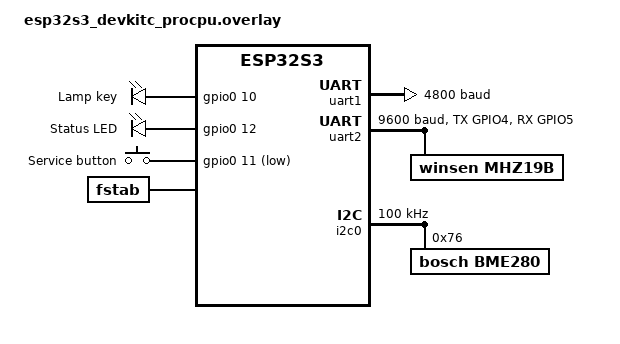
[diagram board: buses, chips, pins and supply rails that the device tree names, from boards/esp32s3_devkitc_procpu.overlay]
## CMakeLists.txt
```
# Weatherstation firmware (Zephyr application).
#
#   west build -b esp32s3_devkitc/esp32s3/procpu --sysbuild fw
#   west build -b native_sim/native/64 fw
cmake_minimum_required(VERSION 3.20.0)

set(WS_FW_DIR ${CMAKE_CURRENT_LIST_DIR})
list(APPEND ZEPHYR_EXTRA_MODULES ${WS_FW_DIR}/modules/metar_cpp)

find_package(Zephyr REQUIRED HINTS $ENV{ZEPHYR_BASE})
project(weatherstation C CXX)

include(${WS_FW_DIR}/lib/lib.cmake)
ws_lib_add(app)

target_include_directories(app PRIVATE src)
target_sources(app PRIVATE
  src/main.c
  src/app_state.c
  src/shell_ws.c
  src/storage/storage.c
  src/storage/settings_ws.c
  src/display/display.c
  src/display/shell_sign.c
  src/io/io.c
  src/sensors/sensors.c
)

if(CONFIG_WS_NET)
  target_sources(app PRIVATE src/net/net_mgr.c src/net/timesync.c)
  if(CONFIG_WS_NET_WIFI)
    target_sources(app PRIVATE src/net/wifi_esp32.c)
  else()
    target_sources(app PRIVATE src/net/wifi_none.c)
  endif()
endif()

if(CONFIG_WS_NET AND CONFIG_HTTP_CLIENT)
  target_sources(app PRIVATE src/net/http_get.c)
endif()

target_sources_ifdef(CONFIG_WS_MQTT app PRIVATE src/mqtt/mqtt_svc.c)
target_sources_ifdef(CONFIG_WS_OTA app PRIVATE src/ota/ota.c)
if(CONFIG_NATIVE_LIBC AND CONFIG_EVENTFD)
  # Zephyr's eventfd() for the HTTP server instead of the host's (see the file)
  target_sources(app PRIVATE src/net/eventfd_native.c)
endif()
if(CONFIG_WS_SMP)
  target_sources(app PRIVATE src/ota/smp_udp.c)
  target_include_directories(app PRIVATE ${ZEPHYR_BASE}/subsys/mgmt/mcumgr/transport/include)
endif()
target_sources_ifdef(CONFIG_WS_WATCHDOG app PRIVATE src/wdt/watchdog.c)

# METAR fallback: C++ adapter of au/metar_cpp + HTTPS fetch + root CAs
if(CONFIG_WS_METAR)
  ws_lib_add_metar(app)
  target_sources(app PRIVATE src/metar/metar.c)
  set(ca_c ${CMAKE_CURRENT_BINARY_DIR}/ws_gen/metar_ca.c)
  ws_embed_file(${WS_FW_DIR}/src/metar/ca_bundle.pem ws_metar_ca_bundle ${ca_c})
  target_sources(app PRIVATE ${ca_c})
endif()
target_sources_ifdef(CONFIG_WS_WEB app PRIVATE src/web/web.c src/web/api.c)

# Emulators behind the same aliases on native_sim (BME280 on i2c-emul,
# MH-Z19B on uart-emul, sign sniffer, button through gpio-emul)
if(CONFIG_WS_EMUL)
  target_include_directories(app PRIVATE emul)
  target_sources(app PRIVATE
    emul/bme280_emul.c
    emul/mhz19b_emul.c
    emul/sign_sniffer.c
    emul/shell_emul.c
  )
endif()

# Web UI: gzip resources served by the HTTP server
if(CONFIG_WS_WEB)
  include(${WS_FW_DIR}/web/web.cmake)
  ws_web_resources(app)
endif()
```

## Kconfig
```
# Weatherstation application options.

mainmenu "Weatherstation"

menu "Weatherstation"

config WS_VERSION
	string "Firmware version string"
	default "0.1.0-dev"

config WS_DEVICE_PREFIX
	string "Prefix of the device id (MQTT topics, AP SSID)"
	default "ws"

config WS_EMUL
	bool "native_sim emulators (BME280, MH-Z19B, sign sniffer, button)"
	default y if BOARD_NATIVE_SIM
	depends on EMUL

config WS_NET
	bool "Network manager (Wi-Fi STA/AP state machine, SNTP, mDNS)"
	default y
	depends on NETWORKING

config WS_NET_WIFI
	bool "ESP32 Wi-Fi adapter"
	default y if WIFI
	depends on WS_NET

config WS_HTTP_PORT
	int "HTTP port of the web page"
	default 8080 if BOARD_NATIVE_SIM
	default 80

config WS_NTP_DEFAULT_SERVER
	string "NTP server used while ntp.server1 is empty"
	default "pool.ntp.org"
	depends on WS_NET
	help
	  Empty on native_sim: the tests set the clock themselves and use a
	  local SNTP server, a sync with the internet would overwrite it.

config WS_MQTT
	bool "MQTT and Home Assistant discovery"
	default y
	depends on MQTT_LIB

config WS_WEB
	bool "Web page and REST API"
	default y
	depends on HTTP_SERVER

config WS_METAR
	bool "METAR fallback over HTTPS"
	default y
	depends on METAR_CPP && NET_SOCKETS_SOCKOPT_TLS && HTTP_CLIENT

config WS_METAR_STACK_SIZE
	int "METAR work queue stack"
	default 8192
	depends on WS_METAR
	help
	  The TLS handshake runs on this stack (mbedTLS needs several KB).

config WS_OTA
	bool "Firmware update over the network"
	default y
	depends on NETWORKING && HTTP_CLIENT && MCUBOOT_IMG_MANAGER && IMG_MANAGER

config WS_OTA_STACK_SIZE
	int "OTA work queue stack"
	default 8192
	depends on WS_OTA
	help
	  The download may use TLS (https:// URL).

config WS_SMP
	bool "MCUmgr (SMP) over UDP for development"
	depends on MCUMGR && WS_NET
	default y
	help
	  Opens the SMP UDP port once the network is up (own transport,
	  fw/src/ota/smp_udp.c). No authentication: only in development
	  builds (overlay-smp.conf); MCUboot still rejects images without
	  the right signature.

config WS_SMP_PORT
	int "SMP UDP port"
	default 1337
	depends on WS_SMP

config WS_WATCHDOG
	bool "Task watchdog on every service thread"
	default y
	depends on TASK_WDT

endmenu

source "Kconfig.zephyr"
```

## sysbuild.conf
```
# Sysbuild: MCUboot + application (ESP32-S3).
SB_CONFIG_BOOTLOADER_MCUBOOT=y
SB_CONFIG_MCUBOOT_MODE_SWAP_USING_MOVE=y
SB_CONFIG_BOOT_SIGNATURE_TYPE_ECDSA_P256=y
# Development key, see fw/keys/README.md. Release builds pass their own key:
#   west build ... -- -DSB_CONFIG_BOOT_SIGNATURE_KEY_FILE=\"/secure/path/key.pem\"
SB_CONFIG_BOOT_SIGNATURE_KEY_FILE="\${APP_DIR}/keys/dev-ecdsa-p256-TEST-ONLY.pem"
```

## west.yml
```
# West manifest for the weatherstation firmware.
#
#   cd <workspace> && west init -l --mf fw/west.yml weatherstation && west update
#
# Only the modules the firmware needs are imported from Zephyr.
manifest:
  version: "1.2"
  remotes:
    - name: zephyrproject-rtos
      url-base: https://github.com/zephyrproject-rtos
  projects:
    - name: zephyr
      remote: zephyrproject-rtos
      revision: v4.3.0
      import:
        name-allowlist:
          - hal_espressif
          - mbedtls
          - mcuboot
          - littlefs
          - zcbor          # MCUmgr (overlay-smp.conf)
```

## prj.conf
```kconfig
# Common configuration for all boards.
CONFIG_LOG=y
CONFIG_LOG_MODE_DEFERRED=y
CONFIG_SHELL=y
CONFIG_SHELL_BACKEND_SERIAL=y
CONFIG_SHELL_CMD_BUFF_SIZE=1024
CONFIG_SHELL_ARGC_MAX=20
CONFIG_MAIN_STACK_SIZE=4096
CONFIG_SYSTEM_WORKQUEUE_STACK_SIZE=6144
CONFIG_HEAP_MEM_POOL_SIZE=65536
CONFIG_REBOOT=y
CONFIG_ZBUS=y
CONFIG_ZBUS_CHANNEL_NAME=y
CONFIG_HWINFO=y
CONFIG_ENTROPY_GENERATOR=y

# Peripherals
CONFIG_GPIO=y
CONFIG_I2C=y
CONFIG_SERIAL=y
CONFIG_UART_INTERRUPT_DRIVEN=y
CONFIG_SENSOR=y
CONFIG_INPUT=y

# Storage: settings in NVS, screens in LittleFS
CONFIG_FLASH=y
CONFIG_FLASH_MAP=y
CONFIG_NVS=y
CONFIG_SETTINGS=y
CONFIG_SETTINGS_NVS=y
CONFIG_FILE_SYSTEM=y
CONFIG_FILE_SYSTEM_LITTLEFS=y

# C++ for the metar_cpp module (no exceptions, no RTTI)
CONFIG_CPP=y
CONFIG_STD_CPP17=y
CONFIG_REQUIRES_FULL_LIBCPP=y
CONFIG_CPP_EXCEPTIONS=n
CONFIG_CPP_RTTI=n

# Networking (Wi-Fi on the ESP32, host sockets on native_sim)
CONFIG_NETWORKING=y
CONFIG_NET_IPV4=y
CONFIG_NET_IPV6=n
CONFIG_NET_TCP=y
CONFIG_NET_UDP=y
CONFIG_NET_SOCKETS=y
CONFIG_NET_MGMT=y
CONFIG_NET_MGMT_EVENT=y
CONFIG_NET_MGMT_EVENT_INFO=y
CONFIG_NET_MGMT_EVENT_STACK_SIZE=4096
CONFIG_SNTP=y
CONFIG_ZVFS_OPEN_MAX=24
CONFIG_ZVFS_POLL_MAX=16
CONFIG_MQTT_LIB=y
CONFIG_MQTT_KEEPALIVE=60
CONFIG_HTTP_SERVER=y
CONFIG_HTTP_PARSER=y
CONFIG_HTTP_PARSER_URL=y
CONFIG_HTTP_SERVER_CAPTURE_HEADERS=y
CONFIG_HTTP_SERVER_MAX_HEADER_LEN=128
CONFIG_HTTP_SERVER_CAPTURE_HEADER_BUFFER_SIZE=256
CONFIG_HTTP_SERVER_CAPTURE_HEADER_COUNT=4
CONFIG_HTTP_SERVER_MAX_CLIENTS=4
CONFIG_HTTP_SERVER_STACK_SIZE=8192
CONFIG_HTTP_SERVER_CLIENT_BUFFER_SIZE=1024
CONFIG_NET_MAX_CONTEXTS=16
CONFIG_NET_MAX_CONN=16
CONFIG_EVENTFD=y

# METAR fallback: HTTPS client with mbedTLS (fw/src/metar)
CONFIG_METAR_CPP=y
CONFIG_HTTP_CLIENT=y
CONFIG_NET_SOCKETS_SOCKOPT_TLS=y
CONFIG_NET_SOCKETS_TLS_MAX_CONTEXTS=2
CONFIG_TLS_CREDENTIALS=y
CONFIG_TLS_MAX_CREDENTIALS_NUMBER=4
CONFIG_MBEDTLS=y
CONFIG_MBEDTLS_BUILTIN=y
CONFIG_MBEDTLS_ENABLE_HEAP=y
CONFIG_MBEDTLS_HEAP_SIZE=72000
CONFIG_MBEDTLS_SSL_MAX_CONTENT_LEN=16384
CONFIG_MBEDTLS_SSL_PROTO_TLS1_2=y
CONFIG_MBEDTLS_SERVER_NAME_INDICATION=y
CONFIG_MBEDTLS_PEM_CERTIFICATE_FORMAT=y
CONFIG_MBEDTLS_RSA_C=y
CONFIG_MBEDTLS_PKCS1_V15=y
CONFIG_MBEDTLS_PKCS1_V21=y
CONFIG_MBEDTLS_ECP_C=y
CONFIG_MBEDTLS_ECDH_C=y
CONFIG_MBEDTLS_ECDSA_C=y
CONFIG_MBEDTLS_ECP_DP_SECP256R1_ENABLED=y
CONFIG_MBEDTLS_ECP_DP_SECP384R1_ENABLED=y
CONFIG_MBEDTLS_ECP_DP_CURVE25519_ENABLED=y
CONFIG_MBEDTLS_KEY_EXCHANGE_ECDHE_RSA_ENABLED=y
CONFIG_MBEDTLS_KEY_EXCHANGE_ECDHE_ECDSA_ENABLED=y
CONFIG_MBEDTLS_CIPHER_AES_ENABLED=y
CONFIG_MBEDTLS_CIPHER_GCM_ENABLED=y
CONFIG_MBEDTLS_CIPHER_CHACHA20_ENABLED=y
CONFIG_MBEDTLS_CHACHAPOLY_AEAD_ENABLED=y
CONFIG_MBEDTLS_POLY1305=y
CONFIG_MBEDTLS_HASH_ALL_ENABLED=y

# Firmware update: slot 1 through flash_img, MCUboot trailer (fw/src/ota)
CONFIG_STREAM_FLASH=y
CONFIG_IMG_MANAGER=y
CONFIG_MCUBOOT_IMG_MANAGER=y
CONFIG_REBOOT=y

# Task watchdog on the service threads (fw/src/wdt)
CONFIG_TASK_WDT=y
CONFIG_TASK_WDT_CHANNELS=8
CONFIG_TASK_WDT_MIN_TIMEOUT=1000

# Stack usage for "kernel thread stacks" (H2)
CONFIG_THREAD_NAME=y
CONFIG_THREAD_MONITOR=y
CONFIG_THREAD_STACK_INFO=y
CONFIG_INIT_STACKS=y
```

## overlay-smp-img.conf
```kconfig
# MCUmgr image group on top of overlay-smp.conf: smpmgr/mcumgr upload into
# slot 1 and image state. Boards with MCUboot only (img_mgmt needs
# CONFIG_FLASH_LOAD_OFFSET to know the running slot; native_sim has none).
CONFIG_MCUMGR_GRP_IMG=y
```

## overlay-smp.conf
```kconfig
# MCUmgr (SMP) over UDP port 1337 for development: echo, reset, task stats.
# Not authenticated, so not in the release build:
#   west build -b native_sim/native/64 fw -- -DEXTRA_CONF_FILE=overlay-smp.conf
# fw/scripts/build-native.sh always adds it (integration tests use smpclient).
# Image upload needs the image group, which needs CONFIG_FLASH_LOAD_OFFSET
# (a board with a bootloader): add overlay-smp-img.conf on the ESP32-S3:
#   west build -b esp32s3_devkitc/esp32s3/procpu --sysbuild fw -- \
#     -DEXTRA_CONF_FILE="overlay-smp.conf;overlay-smp-img.conf"
CONFIG_NET_BUF=y
CONFIG_ZCBOR=y
CONFIG_CRC=y
CONFIG_MCUMGR=y
CONFIG_MCUMGR_GRP_OS=y
# Transport: fw/src/ota/smp_udp.c (CONFIG_WS_SMP_PORT, 1337), not Zephyr's
# MCUMGR_TRANSPORT_UDP: its blocking recvfrom() holds the descriptor lock of
# the native_sim host sockets and delays every answer until the next request.
CONFIG_MCUMGR_TRANSPORT_NETBUF_COUNT=4
CONFIG_MCUMGR_TRANSPORT_NETBUF_SIZE=1536
# the peer address (struct sockaddr_in) is kept in the buffer user data
CONFIG_MCUMGR_TRANSPORT_NETBUF_USER_DATA_SIZE=16
```

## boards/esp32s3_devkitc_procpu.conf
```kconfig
# ESP32-S3-DevKitC-1U N16R8
CONFIG_ESP_SPIRAM=y
CONFIG_SPIRAM_MODE_OCT=y

# Wi-Fi: station and access point (setup page at 192.168.4.1)
CONFIG_WIFI=y
CONFIG_WIFI_USAGE_MODE_STA_AP=y
CONFIG_NET_L2_WIFI_MGMT=y
CONFIG_NET_DHCPV4=y
CONFIG_NET_DHCPV4_SERVER=y
CONFIG_NET_IF_MAX_IPV4_COUNT=2
CONFIG_NET_PKT_RX_COUNT=16
CONFIG_NET_PKT_TX_COUNT=16
CONFIG_NET_BUF_RX_COUNT=64
CONFIG_NET_BUF_TX_COUNT=64
CONFIG_DNS_RESOLVER=y
# weatherstation.local
CONFIG_MDNS_RESPONDER=y
CONFIG_NET_HOSTNAME_ENABLE=y
CONFIG_NET_HOSTNAME="weatherstation"

# Internal DRAM is short: the mbedTLS heap and Wi-Fi/network buffers go to
# PSRAM, like the large application buffers (WS_BIG_BSS in src/app.h)
CONFIG_MBEDTLS_HEAP_CUSTOM_SECTION=y
CONFIG_ESP32_WIFI_NET_ALLOC_SPIRAM=y

# Hardware watchdog as the fallback of the task watchdog (src/wdt)
CONFIG_WATCHDOG=y
```

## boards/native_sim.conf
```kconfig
# native_sim: console on stdin/stdout so tests can drive the shell
CONFIG_UART_NATIVE_PTY_0_ON_STDINOUT=y
CONFIG_SHELL_VT100_COLORS=n
# Emulators behind the device aliases
CONFIG_EMUL=y
# Host sockets instead of a network driver (NSOS)
CONFIG_NET_DRIVERS=y
CONFIG_NET_SOCKETS_OFFLOAD=y
CONFIG_NET_NATIVE_OFFLOADED_SOCKETS=y
CONFIG_ETH_NATIVE_TAP=n

# Commands of the tests are long (forecast JSON): room for a whole line
CONFIG_SHELL_BACKEND_SERIAL_RX_RING_BUFFER_SIZE=1024

# sys_reboot() restarts zephyr.exe (OTA, watchdog and self-test tests)
CONFIG_NATIVE_SIM_REBOOT=y

# Log lines in order with the shell output and none dropped (tests read them)
CONFIG_LOG_MODE_IMMEDIATE=y

# No internet time in tests (see Kconfig WS_NTP_DEFAULT_SERVER)
CONFIG_WS_NTP_DEFAULT_SERVER=""
```

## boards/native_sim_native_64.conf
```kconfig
# native_sim: console on stdin/stdout so tests can drive the shell
CONFIG_UART_NATIVE_PTY_0_ON_STDINOUT=y
CONFIG_SHELL_VT100_COLORS=n
# Emulators behind the device aliases
CONFIG_EMUL=y
# Host sockets instead of a network driver (NSOS)
CONFIG_NET_DRIVERS=y
CONFIG_NET_SOCKETS_OFFLOAD=y
CONFIG_NET_NATIVE_OFFLOADED_SOCKETS=y
CONFIG_ETH_NATIVE_TAP=n

# Commands of the tests are long (forecast JSON): room for a whole line
CONFIG_SHELL_BACKEND_SERIAL_RX_RING_BUFFER_SIZE=1024

# sys_reboot() restarts zephyr.exe (OTA, watchdog and self-test tests)
CONFIG_NATIVE_SIM_REBOOT=y

# Log lines in order with the shell output and none dropped (tests read them)
CONFIG_LOG_MODE_IMMEDIATE=y
```

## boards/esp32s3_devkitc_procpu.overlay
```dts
/*
 * ESP32-S3-DevKitC-1U N16R8 in the weatherstation (pinout: hw/README.md).
 *
 *   UART1 TX 17 / RX 18   RS-485 to the Mobitec sign, 4800 8N1
 *   UART2 TX 4 / RX 5     MH-Z19B, 9600 8N1
 *   I2C0 SDA 8 / SCL 9    BME280 at 0x76
 *   GPIO10                lamp key (NPN base), off at boot
 *   GPIO11                service button to GND
 *   GPIO12                status LED
 *
 * Flash 16 MB: MCUboot 64K, sys 64K, slot0 4M, slot1 4M, NVS 64K,
 * LittleFS 1M, the rest is free.
 */
#include <zephyr/dt-bindings/input/input-event-codes.h>
#include <zephyr/dt-bindings/gpio/gpio.h>
#include <zephyr/dt-bindings/pinctrl/esp32s3-pinctrl.h>

/ {
	chosen {
		ws,sign-uart = &uart1;
	};

	aliases {
		ws-lamp = &lamp_key;
		ws-led = &status_led;
		ws-button = &svc_button;
		ws-co2 = &mhz19b;
		ws-thp = &bme280;
	};

	ws_outputs {
		compatible = "gpio-leds";
		lamp_key: lamp_key {
			gpios = <&gpio0 10 GPIO_ACTIVE_HIGH>;
			label = "Lamp key";
		};
		status_led: status_led {
			gpios = <&gpio0 12 GPIO_ACTIVE_HIGH>;
			label = "Status LED";
		};
	};

	ws_buttons: ws_buttons {
		compatible = "gpio-keys";
		debounce-interval-ms = <30>;
		svc_button: svc_button {
			gpios = <&gpio0 11 (GPIO_PULL_UP | GPIO_ACTIVE_LOW)>;
			label = "Service button";
			zephyr,code = <INPUT_KEY_MENU>;
		};
	};

	fstab {
		compatible = "zephyr,fstab";
		lfs1: lfs1 {
			compatible = "zephyr,fstab,littlefs";
			mount-point = "/lfs";
			partition = <&lfs_partition>;
			automount;
			read-size = <16>;
			prog-size = <16>;
			cache-size = <256>;
			lookahead-size = <32>;
			block-cycles = <512>;
		};
	};
};

&pinctrl {
	uart2_default: uart2_default {
		group1 {
			pinmux = <UART2_TX_GPIO4>;
			output-high;
		};
		group2 {
			pinmux = <UART2_RX_GPIO5>;
			bias-pull-up;
		};
	};

	i2c0_ws: i2c0_ws {
		group1 {
			pinmux = <I2C0_SDA_GPIO8>,
				 <I2C0_SCL_GPIO9>;
			bias-pull-up;
			drive-open-drain;
			output-high;
		};
	};
};

/* Sign: TX only, the RS-485 driver is always enabled (DE/RE to VCC). */
&uart1 {
	status = "okay";
	current-speed = <4800>;
	pinctrl-0 = <&uart1_default>;
	pinctrl-names = "default";
};

&uart2 {
	status = "okay";
	current-speed = <9600>;
	pinctrl-0 = <&uart2_default>;
	pinctrl-names = "default";

	mhz19b: mhz19b {
		compatible = "winsen,mhz19b";
		maximum-range = <5000>;
	};
};

&i2c0 {
	status = "okay";
	clock-frequency = <I2C_BITRATE_STANDARD>;
	pinctrl-0 = <&i2c0_ws>;
	pinctrl-names = "default";

	bme280: bme280@76 {
		compatible = "bosch,bme280";
		reg = <0x76>;
	};
};

/* i2c1 shares GPIO4/5 with UART2 in the board pinctrl */
&i2c1 {
	status = "disabled";
};

#include "esp32s3_ws_partitions.dtsi"

/* N16R8: 8 MB octal PSRAM (16 MB flash is set in the partitions file) */
&psram0 {
	size = <DT_SIZE_M(8)>;
};
```

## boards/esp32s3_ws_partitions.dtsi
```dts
/*
 * Flash layout of the weatherstation on a 16 MB ESP32-S3 module.
 * Shared by the application and MCUboot (sysbuild/mcuboot.overlay).
 */
&flash0 {
	reg = <0x0 DT_SIZE_M(16)>;
};

/delete-node/ &boot_partition;
/delete-node/ &sys_partition;
/delete-node/ &slot0_partition;
/delete-node/ &slot1_partition;
/delete-node/ &slot0_appcpu_partition;
/delete-node/ &slot1_appcpu_partition;
/delete-node/ &slot0_lpcore_partition;
/delete-node/ &slot1_lpcore_partition;
/delete-node/ &storage_partition;
/delete-node/ &scratch_partition;
/delete-node/ &coredump_partition;

&flash0 {
	partitions {
		compatible = "fixed-partitions";
		#address-cells = <1>;
		#size-cells = <1>;

		boot_partition: partition@0 {
			label = "mcuboot";
			reg = <0x00000000 DT_SIZE_K(64)>;
		};
		sys_partition: partition@10000 {
			label = "sys";
			reg = <0x00010000 DT_SIZE_K(64)>;
		};
		slot0_partition: partition@20000 {
			label = "image-0";
			reg = <0x00020000 DT_SIZE_M(4)>;
		};
		slot1_partition: partition@420000 {
			label = "image-1";
			reg = <0x00420000 DT_SIZE_M(4)>;
		};
		storage_partition: partition@820000 {
			label = "storage";
			reg = <0x00820000 DT_SIZE_K(64)>;
		};
		lfs_partition: partition@830000 {
			label = "littlefs";
			reg = <0x00830000 DT_SIZE_M(1)>;
		};
	};
};
```

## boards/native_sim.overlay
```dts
/*
 * native_sim: the same nodes and aliases as on the ESP32-S3, backed by
 * emulators: uart-emul for the sign and the MH-Z19B, i2c-emul for the
 * BME280, gpio-emul for the lamp key, LED and button, and the flash
 * simulator with the same partition names.
 */
#include <zephyr/dt-bindings/input/input-event-codes.h>
#include <zephyr/dt-bindings/gpio/gpio.h>

/ {
	chosen {
		ws,sign-uart = &sign_uart;
	};

	aliases {
		ws-lamp = &lamp_key;
		ws-led = &status_led;
		ws-button = &svc_button;
		ws-co2 = &mhz19b;
		ws-thp = &bme280;
	};

	ws_outputs {
		compatible = "gpio-leds";
		lamp_key: lamp_key {
			gpios = <&gpio0 10 GPIO_ACTIVE_HIGH>;
			label = "Lamp key";
		};
		status_led: status_led {
			gpios = <&gpio0 12 GPIO_ACTIVE_HIGH>;
			label = "Status LED";
		};
	};

	ws_buttons: ws_buttons {
		compatible = "gpio-keys";
		debounce-interval-ms = <30>;
		svc_button: svc_button {
			gpios = <&gpio0 11 (GPIO_PULL_UP | GPIO_ACTIVE_LOW)>;
			label = "Service button";
			zephyr,code = <INPUT_KEY_MENU>;
		};
	};

	/* RS-485 line to the sign: TX only, read back by the test sniffer */
	sign_uart: uart_emul_sign {
		compatible = "zephyr,uart-emul";
		status = "okay";
		current-speed = <4800>;
		tx-fifo-size = <1024>;
		rx-fifo-size = <16>;
	};

	co2_uart: uart_emul_co2 {
		compatible = "zephyr,uart-emul";
		status = "okay";
		current-speed = <9600>;
		tx-fifo-size = <64>;
		rx-fifo-size = <64>;

		mhz19b: mhz19b {
			compatible = "winsen,mhz19b";
			maximum-range = <5000>;
		};
	};

	fstab {
		compatible = "zephyr,fstab";
		lfs1: lfs1 {
			compatible = "zephyr,fstab,littlefs";
			mount-point = "/lfs";
			partition = <&lfs_partition>;
			automount;
			read-size = <16>;
			prog-size = <16>;
			cache-size = <64>;
			lookahead-size = <32>;
			block-cycles = <512>;
		};
	};
};

&i2c0 {
	bme280: bme280@76 {
		compatible = "bosch,bme280";
		reg = <0x76>;
	};
};

/* Same partition names as on the device, smaller slots. */
/delete-node/ &boot_partition;
/delete-node/ &slot0_partition;
/delete-node/ &slot1_partition;
/delete-node/ &scratch_partition;
/delete-node/ &storage_partition;

&flashcontroller0 {
	reg = <0x00000000 DT_SIZE_M(4)>;
};

&flash0 {
	reg = <0x00000000 DT_SIZE_M(4)>;

	partitions {
		compatible = "fixed-partitions";
		#address-cells = <1>;
		#size-cells = <1>;

		boot_partition: partition@0 {
			label = "mcuboot";
			reg = <0x00000000 DT_SIZE_K(64)>;
		};
		slot0_partition: partition@10000 {
			label = "image-0";
			reg = <0x00010000 DT_SIZE_M(1)>;
		};
		slot1_partition: partition@110000 {
			label = "image-1";
			reg = <0x00110000 DT_SIZE_M(1)>;
		};
		storage_partition: partition@210000 {
			label = "storage";
			reg = <0x00210000 DT_SIZE_K(64)>;
		};
		lfs_partition: partition@220000 {
			label = "littlefs";
			reg = <0x00220000 DT_SIZE_M(1)>;
		};
	};
};
```

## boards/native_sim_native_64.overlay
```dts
/* native_sim/native/64 uses the same nodes as native_sim. */
#include "native_sim.overlay"
```

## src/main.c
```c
/*
 * Weatherstation firmware entry point: starts the services in order.
 * Architecture: fw/README.md, plan: fw/docs/implementation-plan.md.
 */
#include <zephyr/kernel.h>
#include <zephyr/logging/log.h>
#include <zephyr/shell/shell.h>

#include "app.h"
#include "display/display.h"
#include "io/io.h"
#include "services.h"
#include "storage/storage.h"

LOG_MODULE_REGISTER(ws_main, LOG_LEVEL_INF);

static int cmd_version(const struct shell *sh, size_t argc, char **argv)
{
	shell_print(sh, "version: %s", CONFIG_WS_VERSION);
	shell_print(sh, "board: %s", CONFIG_BOARD_TARGET);
	return 0;
}

/* Other modules add their commands with SHELL_SUBCMD_ADD((ws), ...). */
SHELL_SUBCMD_SET_CREATE(ws_cmds, (ws));
SHELL_SUBCMD_ADD((ws), version, NULL, "Firmware version", cmd_version, 1, 0);
SHELL_CMD_REGISTER(ws, &ws_cmds, "Weatherstation commands", NULL);

int main(void)
{
	printk("weatherstation %s\n", CONFIG_WS_VERSION);

	ws_storage_init();
	ws_settings_init();
	ws_app_state_init();
	LOG_INF("device id %s", ws_app_device_id());
	ws_app_clock_start();
	ws_watchdog_start();

	ws_io_start();
	ws_display_start();
	ws_ota_boot_check();
	ws_net_start(ws_io_button_held_at_boot());
	ws_mqtt_start();
	ws_web_start();
	ws_metar_start();
	return 0;
}
```

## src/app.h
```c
/*
 * Shared application state and zbus channels.
 *
 * The decision logic lives in fw/lib (pure C); services in fw/src only move
 * data between it and the outside world. Variables, the compiled screen
 * configuration and the screen engine are shared state guarded by one
 * mutex; changes are announced on zbus channels.
 */
#ifndef WS_APP_H_
#define WS_APP_H_

#include <stdbool.h>
#include <stdint.h>

#include <zephyr/kernel.h>
#include <zephyr/zbus/zbus.h>

#include <ws/config.h>
#include <ws/screens.h>
#include <ws/settings.h>
#include <ws/tz.h>
#include <ws/vars.h>

/* Large buffers (configurations, JSON text and tokens, HTTP responses) live
 * in PSRAM on the ESP32-S3: internal DRAM is kept for stacks, Wi-Fi and the
 * network stack. Zero-initialized, never initialized data. */
#ifdef CONFIG_ESP_SPIRAM
#define WS_BIG_BSS __attribute__((section(".ext_ram.bss")))
#else
#define WS_BIG_BSS
#endif

/* ---- clock ---- */

/* Monotonic seconds and unix time (0 until the first NTP sync). */
struct ws_now ws_app_now(void);
void ws_app_set_unix(int64_t unix_s, const char *server);
bool ws_app_time_synced(void);
const char *ws_app_time_server(void);
int64_t ws_app_last_sync(void); /* unix time of the last sync, 0 never */
/* Local time by the POSIX TZ from the settings; false until synced. */
bool ws_app_localtime(struct ws_tm *tm);
/* Starts the minute ticker that keeps time.* and sun.up current. */
void ws_app_clock_start(void);
int ws_app_state_init(void);

/* ---- device ---- */

const char *ws_app_device_id(void); /* "ws_a1b2" */

/* ---- shared state ---- */

void ws_app_lock(void);
void ws_app_unlock(void);

/* All three need the lock. */
struct ws_vars *ws_app_vars(void);
struct ws_config *ws_app_cfg(void);
struct ws_engine *ws_app_engine(void);

/* Convenience setters: lock, set, unlock and notify on change. */
void ws_app_set_num(int id, int32_t num);
void ws_app_set_str(int id, const char *s);
void ws_app_clear(int id);
/* Announces "variables changed" (ws_chan_vars) if the store changed. */
void ws_app_vars_touched(void);

/* Validates, compiles and swaps in a new screen configuration. When `save`
 * is set the JSON is written to flash (current -> previous). Returns 0 or
 * -1 with `errs`. Safe to call from any thread. */
int ws_app_cfg_apply(const char *json, size_t len, bool save, struct ws_cfg_errors *errs);
/* Restores the previous configuration file. */
int ws_app_cfg_rollback(struct ws_cfg_errors *errs);
/* Where the active configuration came from: "current", "previous",
 * "factory" or "api". */
const char *ws_app_cfg_source(void);
/* Canonical JSON of the active configuration into a static buffer (holds
 * the lock while serializing). Returns length or -1. */
int ws_app_cfg_json(char *buf, size_t len);

/* Scratch buffer for JSON text up to 32 KB; one user at a time. */
char *ws_app_json_buf_take(k_timeout_t timeout);
void ws_app_json_buf_give(void);

/* ---- settings ---- */

/* Copy of the device settings (no lock needed by the caller). */
void ws_app_settings_get(struct ws_settings *out);
/* Applies a JSON patch and stores changed fields; announces ws_chan_settings. */
int ws_app_settings_apply(const char *json, size_t len, struct ws_cfg_errors *errs);
/* Single field update from code (e.g. lamp.last). */
void ws_app_settings_set_int(const char *key, int32_t v);

/* ---- zbus channels ---- */

struct ws_msg_vars {
	uint32_t seq;
};

struct ws_msg_display {
	char screen[WS_ID_LEN];
	char name[WS_NAME_LEN];
	char reason[96];
	bool pinned;
	uint32_t flips_24h;
};

struct ws_msg_lamp {
	bool on;
};

enum ws_net_status {
	WS_NETST_DOWN,
	WS_NETST_CONNECTING,
	WS_NETST_ONLINE,
	WS_NETST_AP,
};

struct ws_msg_net {
	uint8_t status; /* enum ws_net_status */
	int8_t rssi;
	char ip[16];
};

enum ws_btn_msg {
	WS_BTNMSG_SHORT,
	WS_BTNMSG_LONG,
	WS_BTNMSG_BOOT,
};

struct ws_msg_button {
	uint8_t event; /* enum ws_btn_msg */
};

struct ws_msg_cfg {
	uint32_t generation;
};

struct ws_msg_settings {
	uint64_t changed; /* bit per ws_setting_fields index */
};

struct ws_msg_mqtt {
	bool connected;
};

ZBUS_CHAN_DECLARE(ws_chan_vars, ws_chan_display, ws_chan_lamp_cmd, ws_chan_lamp_state, ws_chan_net,
		  ws_chan_button, ws_chan_cfg, ws_chan_settings, ws_chan_mqtt);

#endif /* WS_APP_H_ */
```

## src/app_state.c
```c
/* Shared state, configuration swap, clock and zbus channels (see app.h). */
#include <stdio.h>
#include <string.h>

#include <zephyr/drivers/hwinfo.h>
#include <zephyr/kernel.h>
#include <zephyr/logging/log.h>
#include <zephyr/random/random.h>

#include <ws/util.h>

#include "app.h"
#include "storage/storage.h"

LOG_MODULE_REGISTER(ws_app, LOG_LEVEL_INF);

ZBUS_CHAN_DEFINE(ws_chan_vars, struct ws_msg_vars, NULL, NULL, ZBUS_OBSERVERS_EMPTY,
		 ZBUS_MSG_INIT(0));
ZBUS_CHAN_DEFINE(ws_chan_display, struct ws_msg_display, NULL, NULL, ZBUS_OBSERVERS_EMPTY,
		 ZBUS_MSG_INIT(0));
ZBUS_CHAN_DEFINE(ws_chan_lamp_cmd, struct ws_msg_lamp, NULL, NULL, ZBUS_OBSERVERS_EMPTY,
		 ZBUS_MSG_INIT(false));
ZBUS_CHAN_DEFINE(ws_chan_lamp_state, struct ws_msg_lamp, NULL, NULL, ZBUS_OBSERVERS_EMPTY,
		 ZBUS_MSG_INIT(false));
ZBUS_CHAN_DEFINE(ws_chan_net, struct ws_msg_net, NULL, NULL, ZBUS_OBSERVERS_EMPTY,
		 ZBUS_MSG_INIT(WS_NETST_DOWN));
ZBUS_CHAN_DEFINE(ws_chan_button, struct ws_msg_button, NULL, NULL, ZBUS_OBSERVERS_EMPTY,
		 ZBUS_MSG_INIT(0));
ZBUS_CHAN_DEFINE(ws_chan_cfg, struct ws_msg_cfg, NULL, NULL, ZBUS_OBSERVERS_EMPTY,
		 ZBUS_MSG_INIT(0));
ZBUS_CHAN_DEFINE(ws_chan_settings, struct ws_msg_settings, NULL, NULL, ZBUS_OBSERVERS_EMPTY,
		 ZBUS_MSG_INIT(0));
ZBUS_CHAN_DEFINE(ws_chan_mqtt, struct ws_msg_mqtt, NULL, NULL, ZBUS_OBSERVERS_EMPTY,
		 ZBUS_MSG_INIT(false));

/* ---- clock ---- */

static int64_t unix_base; /* unix - uptime, 0 before the first sync */
static void clock_tick(struct k_work *w);
static K_WORK_DELAYABLE_DEFINE(clock_work, clock_tick); /* static: see display.c */
static bool clock_started;
static int64_t last_sync;
static char sync_server[64];

struct ws_now ws_app_now(void)
{
	int64_t mono = k_uptime_get() / 1000;

	return (struct ws_now){mono, unix_base ? unix_base + mono : 0};
}

void ws_app_set_unix(int64_t unix_s, const char *server)
{
	unix_base = unix_s - k_uptime_get() / 1000;
	last_sync = unix_s;
	snprintf(sync_server, sizeof(sync_server), "%s", server ? server : "");
	if (clock_started) {
		k_work_reschedule(&clock_work, K_NO_WAIT);
	}
}

bool ws_app_time_synced(void)
{
	return unix_base != 0;
}

const char *ws_app_time_server(void)
{
	return sync_server;
}

int64_t ws_app_last_sync(void)
{
	return last_sync;
}

/* ---- device id ---- */

static char dev_id[20];

const char *ws_app_device_id(void)
{
	if (!dev_id[0]) {
		struct ws_settings s;
		uint8_t id[16];
		ssize_t n;

		ws_app_settings_get(&s);
		if (s.dev_id[0]) {
			snprintf(dev_id, sizeof(dev_id), "%s", s.dev_id);
		} else {
			n = hwinfo_get_device_id(id, sizeof(id));
			if (n >= 2) {
				snprintf(dev_id, sizeof(dev_id), "%s_%02x%02x",
					 CONFIG_WS_DEVICE_PREFIX, id[n - 2], id[n - 1]);
			} else {
				snprintf(dev_id, sizeof(dev_id), "%s_0000",
					 CONFIG_WS_DEVICE_PREFIX);
			}
		}
	}
	return dev_id;
}

/* ---- shared state ---- */

K_MUTEX_DEFINE(state_lock);

static struct ws_vars vars;
/* Two compiled configurations: the active one and the one being built. */
static WS_BIG_BSS struct ws_config cfgs[2];
static int active;
static struct ws_engine engine;
static const char *cfg_source = "factory";
static uint32_t cfg_generation;

void ws_app_lock(void)
{
	k_mutex_lock(&state_lock, K_FOREVER);
}

void ws_app_unlock(void)
{
	k_mutex_unlock(&state_lock);
}

struct ws_vars *ws_app_vars(void)
{
	return &vars;
}

struct ws_config *ws_app_cfg(void)
{
	return &cfgs[active];
}

struct ws_engine *ws_app_engine(void)
{
	return &engine;
}

static uint32_t published_seq;

void ws_app_vars_touched(void)
{
	uint32_t seq;

	ws_app_lock();
	seq = vars.seq;
	ws_app_unlock();
	if (seq != published_seq) {
		struct ws_msg_vars m = {seq};

		published_seq = seq;
		zbus_chan_pub(&ws_chan_vars, &m, K_NO_WAIT);
	}
}

void ws_app_set_num(int id, int32_t num)
{
	struct ws_now now = ws_app_now();

	ws_app_lock();
	ws_vars_set_num(&vars, id, num, now.mono);
	ws_app_unlock();
	ws_app_vars_touched();
}

void ws_app_set_str(int id, const char *s)
{
	struct ws_now now = ws_app_now();

	ws_app_lock();
	ws_vars_set_str(&vars, id, s, now.mono);
	ws_app_unlock();
	ws_app_vars_touched();
}

void ws_app_clear(int id)
{
	ws_app_lock();
	ws_vars_clear(&vars, id);
	ws_app_unlock();
	ws_app_vars_touched();
}

/* ---- JSON scratch ---- */

static WS_BIG_BSS char json_buf[WS_MAX_FILE + 1];
static WS_BIG_BSS struct ws_jtok json_toks[WS_JSON_TOKENS];
K_SEM_DEFINE(json_sem, 1, 1);

char *ws_app_json_buf_take(k_timeout_t timeout)
{
	return k_sem_take(&json_sem, timeout) == 0 ? json_buf : NULL;
}

void ws_app_json_buf_give(void)
{
	k_sem_give(&json_sem);
}

/* ---- configuration ---- */

K_MUTEX_DEFINE(cfg_lock); /* serializes compile + swap */

static void apply_ext_ttls(const struct ws_config *c)
{
	for (int i = 0; i < c->n_ext; i++) {
		ws_vars_set_ext_ttl(&vars, c->ext[i].idx, c->ext[i].ttl);
	}
}

static void swap_in(int spare, const char *source)
{
	struct ws_now now = ws_app_now();
	struct ws_msg_cfg m;

	ws_app_lock();
	active = spare;
	ws_cfg_reset_state(&cfgs[active]);
	ws_engine_reconfigure(&engine, &cfgs[active], now.mono);
	apply_ext_ttls(&cfgs[active]);
	cfg_source = source;
	m.generation = ++cfg_generation;
	ws_app_unlock();
	zbus_chan_pub(&ws_chan_cfg, &m, K_MSEC(100));
}

int ws_app_cfg_apply(const char *json, size_t len, bool save, struct ws_cfg_errors *errs)
{
	int r;

	k_mutex_lock(&cfg_lock, K_FOREVER);
	/* The spare buffer is not used by anyone: only this function swaps. */
	int spare = !active;

	r = ws_cfg_compile(json, len, &cfgs[spare], errs, json_toks, WS_JSON_TOKENS);
	if (r == 0 && save) {
		r = ws_storage_save_cfg(json, len);
		if (r < 0) {
			errs->count = 1;
			errs->e[0].path[0] = '\0';
			snprintf(errs->e[0].msg, sizeof(errs->e[0].msg),
				 "не удалось записать файл (%d)", r);
			r = -1;
		}
	}
	if (r == 0) {
		swap_in(spare, save ? "current" : "api");
		LOG_INF("screens applied: %u screens", cfgs[active].n_screens);
	}
	k_mutex_unlock(&cfg_lock);
	return r;
}

static int read_current(void *ctx, char *buf, size_t cap)
{
	return ws_storage_read(WS_CFG_CURRENT, buf, cap);
}

static int read_previous(void *ctx, char *buf, size_t cap)
{
	return ws_storage_read(WS_CFG_PREVIOUS, buf, cap);
}

static int read_factory(void *ctx, char *buf, size_t cap)
{
	size_t n = ws_factory_screens_json_len < cap ? ws_factory_screens_json_len : cap;

	memcpy(buf, ws_factory_screens_json, n);
	return (int)n;
}

int ws_app_cfg_rollback(struct ws_cfg_errors *errs)
{
	int r;

	/* the caller must not hold the JSON buffer */
	if (!ws_app_json_buf_take(K_SECONDS(5))) {
		errs->count = 1;
		errs->e[0].path[0] = '\0';
		snprintf(errs->e[0].msg, sizeof(errs->e[0].msg), "устройство занято");
		return -1;
	}
	k_mutex_lock(&cfg_lock, K_FOREVER);
	r = ws_storage_read(WS_CFG_PREVIOUS, json_buf, WS_MAX_FILE);
	if (r <= 0) {
		errs->count = 1;
		errs->e[0].path[0] = '\0';
		snprintf(errs->e[0].msg, sizeof(errs->e[0].msg), "нет предыдущей версии");
		k_mutex_unlock(&cfg_lock);
		ws_app_json_buf_give();
		return -1;
	}
	int spare = !active;

	r = ws_cfg_compile(json_buf, r, &cfgs[spare], errs, json_toks, WS_JSON_TOKENS);
	if (r == 0) {
		r = ws_storage_rollback();
		if (r == 0) {
			swap_in(spare, "current");
		}
	}
	k_mutex_unlock(&cfg_lock);
	ws_app_json_buf_give();
	return r;
}

const char *ws_app_cfg_source(void)
{
	return cfg_source;
}

int ws_app_cfg_json(char *buf, size_t len)
{
	int r;

	ws_app_lock();
	r = ws_cfg_to_json(&cfgs[active], buf, len);
	ws_app_unlock();
	return r;
}

/* Called once from main() after storage and settings are up. */
int ws_app_state_init(void)
{
	static const struct ws_cfg_source chain[] = {
		{"current", read_current, NULL},
		{"previous", read_previous, NULL},
		{"factory", read_factory, NULL},
	};
	static const char *const names[] = {"current", "previous", "factory"};
	struct ws_cfg_errors errs;
	struct ws_now now = ws_app_now();

	ws_vars_init(&vars);
	k_mutex_lock(&cfg_lock, K_FOREVER);
	int used = ws_cfg_load_chain(chain, 3, json_buf, WS_MAX_FILE, &cfgs[0], &errs, json_toks,
				     WS_JSON_TOKENS);

	if (used < 0) {
		/* cannot happen with a valid factory set; keep an empty default */
		LOG_ERR("no usable screen configuration");
		used = 2;
	} else if (used > 0) {
		LOG_WRN("screens.json unusable, loaded %s set", names[used]);
	}
	active = 0;
	cfg_source = names[used];
	ws_engine_init(&engine, &cfgs[0], now.mono);
	apply_ext_ttls(&cfgs[0]);
	k_mutex_unlock(&cfg_lock);
	LOG_INF("screens: %u from %s", cfgs[0].n_screens, cfg_source);
	return 0;
}

/* ---- local time ---- */

static struct ws_tz tz;
static char tz_str[48];

bool ws_app_localtime(struct ws_tm *tm)
{
	struct ws_now now = ws_app_now();
	struct ws_settings s;

	if (!now.unix_s) {
		return false;
	}
	ws_app_settings_get(&s);
	if (strcmp(s.tz, tz_str) != 0) {
		if (ws_tz_parse(s.tz, &tz) < 0) {
			ws_tz_parse("MSK-3", &tz);
		}
		snprintf(tz_str, sizeof(tz_str), "%s", s.tz);
	}
	ws_localtime(&tz, now.unix_s, tm);
	return true;
}

/* time.hour / time.min / time.dow and sun.up, once a minute (and right after
 * a sync, see ws_app_set_unix) */

static void clock_tick(struct k_work *w)
{
	struct ws_tm tm;
	struct ws_settings s;
	struct ws_now now = ws_app_now();

	if (ws_app_localtime(&tm)) {
		ws_app_lock();
		ws_vars_set_num(&vars, WS_V_TIME_HOUR, tm.hour * 10, now.mono);
		ws_vars_set_num(&vars, WS_V_TIME_MIN, tm.min * 10, now.mono);
		ws_vars_set_num(&vars, WS_V_TIME_DOW, tm.dow * 10, now.mono);
		ws_app_settings_get(&s);
		if (s.lat_e6 || s.lon_e6) {
			bool up = ws_sun_up(s.lat_e6 / 1e6, s.lon_e6 / 1e6, now.unix_s);

			ws_vars_set_num(&vars, WS_V_SUN_UP, up, now.mono);
		}
		ws_app_unlock();
		ws_app_vars_touched();
		/* next tick right after the minute changes */
		k_work_reschedule(&clock_work, K_MSEC((60 - tm.sec) * 1000 + 20));
		return;
	}
	k_work_reschedule(&clock_work, K_SECONDS(5));
}

void ws_app_clock_start(void)
{
	clock_started = true;
	k_work_reschedule(&clock_work, K_NO_WAIT);
}
```

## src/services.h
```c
/*
 * Start functions of the optional services. A service that is disabled in
 * Kconfig gets an empty inline stub, so main() stays the same everywhere.
 */
#ifndef WS_SERVICES_H_
#define WS_SERVICES_H_

#include <stdbool.h>

#ifdef CONFIG_WS_NET
int ws_net_start(bool ap_at_boot);
#else
static inline int ws_net_start(bool ap_at_boot)
{
	return 0;
}
#endif

#ifdef CONFIG_WS_MQTT
int ws_mqtt_start(void);
#else
static inline int ws_mqtt_start(void)
{
	return 0;
}
#endif

#ifdef CONFIG_WS_WEB
int ws_web_start(void);
#else
static inline int ws_web_start(void)
{
	return 0;
}
#endif

#ifdef CONFIG_WS_METAR
int ws_metar_start(void);
#else
static inline int ws_metar_start(void)
{
	return 0;
}
#endif

#ifdef CONFIG_WS_OTA
int ws_ota_boot_check(void);
#else
static inline int ws_ota_boot_check(void)
{
	return 0;
}
#endif

#ifdef CONFIG_WS_WATCHDOG
int ws_watchdog_start(void);
#else
static inline int ws_watchdog_start(void)
{
	return 0;
}
#endif

#endif
```

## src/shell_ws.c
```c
/*
 * "ws" shell commands for the bench and for the native_sim tests:
 * variables, time, screen configuration and settings.
 */
#include <stdio.h>
#include <stdlib.h>
#include <string.h>

#include <zephyr/kernel.h>
#include <zephyr/shell/shell.h>
#ifdef CONFIG_ZVFS
#include <zephyr/sys/fdtable.h>
#endif

#include <ws/json.h>
#include <ws/sign.h>

#include "app.h"
#include "storage/storage.h"

static int cmd_status(const struct shell *sh, size_t argc, char **argv)
{
	struct ws_msg_net net;
	struct ws_msg_mqtt mq;
	struct ws_tm tm;
	struct ws_now now = ws_app_now();

	zbus_chan_read(&ws_chan_net, &net, K_MSEC(10));
	zbus_chan_read(&ws_chan_mqtt, &mq, K_MSEC(10));
	shell_print(sh, "id: %s", ws_app_device_id());
	shell_print(sh, "uptime: %lld", (long long)now.mono);
	shell_print(sh, "net: %d", net.status);
	shell_print(sh, "ip: %s", net.ip);
	shell_print(sh, "mqtt: %s", mq.connected ? "connected" : "disconnected");
	if (ws_app_localtime(&tm)) {
		shell_print(sh, "time: %04d-%02d-%02d %02d:%02d:%02d", tm.year, tm.month, tm.day,
			    tm.hour, tm.min, tm.sec);
		shell_print(sh, "ntp: %s", ws_app_time_server());
	} else {
		shell_print(sh, "time: unknown");
	}
	ws_app_lock();
	struct ws_engine *e = ws_app_engine();
	struct ws_config *c = ws_app_cfg();

	shell_print(sh, "screens: %u (%s)", c->n_screens, ws_app_cfg_source());
	shell_print(sh, "screen: %s", c->screens[e->current].id);
	shell_print(sh, "reason: %s", e->reason);
	shell_print(sh, "pinned: %s", e->pinned >= 0 ? c->screens[e->pinned].id : "no");
	ws_app_unlock();
	return 0;
}

static int cmd_vars(const struct shell *sh, size_t argc, char **argv)
{
	struct ws_now now = ws_app_now();
	char v[32];

	ws_app_lock();
	for (int i = 0; i < WS_V_COUNT; i++) {
		struct ws_value x;

		ws_vars_get(ws_app_vars(), i, &now, &x);
		ws_value_format(&x, x.type, v, sizeof(v));
		shell_print(sh, "%s: %s %s", ws_var_name(i), v, ws_vsrc_name(x.src));
	}
	ws_app_unlock();
	return 0;
}

/* ws var set <name> <value> */
static int cmd_var_set(const struct shell *sh, size_t argc, char **argv)
{
	int id = ws_var_lookup(argv[1]);
	const char *val = argv[2];

	if (id < 0) {
		shell_error(sh, "unknown variable %s", argv[1]);
		return -EINVAL;
	}
	const struct ws_var_info *inf = ws_var_info(id);
	int32_t num;

	switch (inf->type) {
	case WS_VT_BOOL:
		num = !strcmp(val, "true") || !strcmp(val, "1");
		break;
	case WS_VT_COND:
		num = ws_cond_parse(val);
		break;
	case WS_VT_DIR:
		num = ws_dir_parse(val);
		break;
	case WS_VT_STR:
		ws_app_set_str(id, val);
		return 0;
	case WS_VT_HOURS:
		shell_error(sh, "use the forecast to set fc.hours");
		return -EINVAL;
	default: {
		/* decimal number into tenths */
		char *end;
		double d = strtod(val, &end);

		if (*end) {
			if (inf->type == WS_VT_ANY) {
				ws_app_set_str(id, val);
				return 0;
			}
			shell_error(sh, "not a number: %s", val);
			return -EINVAL;
		}
		num = (int32_t)(d >= 0 ? d * 10 + 0.5 : d * 10 - 0.5);
		break;
	}
	}
	if (num < 0 && (inf->type == WS_VT_COND || inf->type == WS_VT_DIR)) {
		shell_error(sh, "bad value %s", val);
		return -EINVAL;
	}
	ws_app_set_num(id, num);
	return 0;
}

static int cmd_var_clear(const struct shell *sh, size_t argc, char **argv)
{
	int id = ws_var_lookup(argv[1]);

	if (id < 0) {
		shell_error(sh, "unknown variable %s", argv[1]);
		return -EINVAL;
	}
	ws_app_clear(id);
	return 0;
}

SHELL_STATIC_SUBCMD_SET_CREATE(
	var_cmds, SHELL_CMD_ARG(set, NULL, "Set a variable: set <name> <value>", cmd_var_set, 3, 0),
	SHELL_CMD_ARG(clear, NULL, "Make a variable unknown: clear <name>", cmd_var_clear, 2, 0),
	SHELL_SUBCMD_SET_END);

/* ws forecast <json...> (the words are joined with spaces) */
static int cmd_forecast(const struct shell *sh, size_t argc, char **argv)
{
	static char buf[CONFIG_SHELL_CMD_BUFF_SIZE];
	size_t o = 0;
	struct ws_now now = ws_app_now();

	for (size_t i = 1; i < argc && o < sizeof(buf) - 2; i++) {
		o += snprintf(buf + o, sizeof(buf) - o, "%s%s", i > 1 ? " " : "", argv[i]);
	}
	ws_app_lock();
	int r = ws_forecast_apply(ws_app_vars(), buf, o, now.mono);

	ws_app_unlock();
	ws_app_vars_touched();
	if (r) {
		shell_error(sh, "bad forecast JSON");
	}
	return r;
}

/* ws time set <unix> : sets the wall clock like an NTP sync would */
static int cmd_time_set(const struct shell *sh, size_t argc, char **argv)
{
	int64_t t = strtoll(argv[1], NULL, 10);

	if (t < 1000000000LL) {
		shell_error(sh, "unix time expected");
		return -EINVAL;
	}
	ws_app_set_unix(t, "shell");
	return 0;
}

SHELL_STATIC_SUBCMD_SET_CREATE(time_cmds,
			       SHELL_CMD_ARG(set, NULL, "Set the clock: set <unix time>",
					     cmd_time_set, 2, 0),
			       SHELL_SUBCMD_SET_END);

static int cmd_cfg_status(const struct shell *sh, size_t argc, char **argv)
{
	ws_app_lock();
	shell_print(sh, "source: %s", ws_app_cfg_source());
	shell_print(sh, "screens: %u", ws_app_cfg()->n_screens);
	ws_app_unlock();
	return 0;
}

static void print_errors(const struct shell *sh, const struct ws_cfg_errors *e)
{
	for (int i = 0; i < e->count && i < WS_MAX_ERRORS; i++) {
		shell_error(sh, "%s: %s", e->e[i].path, e->e[i].msg);
	}
}

static int cmd_cfg_factory(const struct shell *sh, size_t argc, char **argv)
{
	static struct ws_cfg_errors e;
	int r = ws_app_cfg_apply((const char *)ws_factory_screens_json, ws_factory_screens_json_len,
				 true, &e);

	if (r) {
		print_errors(sh, &e);
	}
	return r;
}

static int cmd_cfg_rollback(const struct shell *sh, size_t argc, char **argv)
{
	static struct ws_cfg_errors e;
	int r = ws_app_cfg_rollback(&e);

	if (r) {
		print_errors(sh, &e);
	}
	return r;
}

/* Test helper: writes a truncated screens.json (and optionally the previous
 * version) to check the start-up fallback on the flash simulator. */
static int cmd_cfg_corrupt(const struct shell *sh, size_t argc, char **argv)
{
	static const char broken[] = "{\"schema\":1,\"screens\":[{\"id\":\"x\",";
	int r = ws_storage_write_raw(WS_CFG_CURRENT, broken, sizeof(broken) - 1);

	if (r == 0 && argc > 1 && !strcmp(argv[1], "both")) {
		r = ws_storage_write_raw(WS_CFG_PREVIOUS, broken, sizeof(broken) - 1);
	}
	shell_print(sh, "corrupted: %d", r);
	return r;
}

SHELL_STATIC_SUBCMD_SET_CREATE(
	cfg_cmds, SHELL_CMD(status, NULL, "Where the screens came from", cmd_cfg_status),
	SHELL_CMD(factory, NULL, "Save and apply the factory set", cmd_cfg_factory),
	SHELL_CMD(rollback, NULL, "Back to the previous version", cmd_cfg_rollback),
	SHELL_CMD_ARG(corrupt, NULL, "Test: break screens.json [both]", cmd_cfg_corrupt, 1, 1),
	SHELL_SUBCMD_SET_END);

/* ws set <key> <value> : one setting; numbers stay numbers */
static int cmd_set(const struct shell *sh, size_t argc, char **argv)
{
	static char json[CONFIG_SHELL_CMD_BUFF_SIZE + 64];
	static struct ws_cfg_errors e;
	const struct ws_setting_field *f = ws_setting_find(argv[1]);
	struct ws_jw w;

	ws_jw_init(&w, json, sizeof(json));
	ws_jw_obj(&w);
	if (f && f->type == WS_SET_INT) {
		ws_jw_kint(&w, argv[1], strtol(argv[2], NULL, 10));
	} else {
		ws_jw_kstr(&w, argv[1], argv[2]);
	}
	ws_jw_obj_end(&w);
	int r = ws_app_settings_apply(json, w.pos, &e);

	if (r) {
		print_errors(sh, &e);
	}
	return r;
}

static int cmd_settings(const struct shell *sh, size_t argc, char **argv)
{
	static WS_BIG_BSS char buf[4096];
	struct ws_settings s;

	ws_app_settings_get(&s);
	if (ws_settings_to_json(&s, buf, sizeof(buf)) > 0) {
		shell_print(sh, "%s", buf);
	}
	return 0;
}

#ifdef CONFIG_ZVFS
/* Open descriptors (diagnostics of socket problems on native_sim) */
static int cmd_fds(const struct shell *sh, size_t argc, char **argv)
{
	for (int fd = 0; fd < CONFIG_ZVFS_OPEN_MAX; fd++) {
		const struct fd_op_vtable *vt = NULL;
		void *obj = zvfs_get_fd_obj_and_vtable(fd, &vt, NULL);

		if (obj) {
			shell_print(sh, "fd %d: obj %p vtable %p", fd, obj, (const void *)vt);
		}
	}
	return 0;
}
SHELL_SUBCMD_ADD((ws), fds, NULL, "Open file descriptors", cmd_fds, 1, 0);
#endif

SHELL_SUBCMD_ADD((ws), status, NULL, "Device status", cmd_status, 1, 0);
SHELL_SUBCMD_ADD((ws), vars, NULL, "All variables", cmd_vars, 1, 0);
SHELL_SUBCMD_ADD((ws), var, &var_cmds, "Set or clear a variable", NULL, 0, 0);
SHELL_SUBCMD_ADD((ws), forecast, NULL, "Apply a forecast JSON", cmd_forecast, 2, 0);
SHELL_SUBCMD_ADD((ws), time, &time_cmds, "Wall clock", NULL, 0, 0);
SHELL_SUBCMD_ADD((ws), cfg, &cfg_cmds, "Screen configuration", NULL, 0, 0);
SHELL_SUBCMD_ADD((ws), set, NULL, "Change a setting: set <key> <value>", cmd_set, 3, 0);
SHELL_SUBCMD_ADD((ws), settings, NULL, "Show settings", cmd_settings, 1, 0);
```
